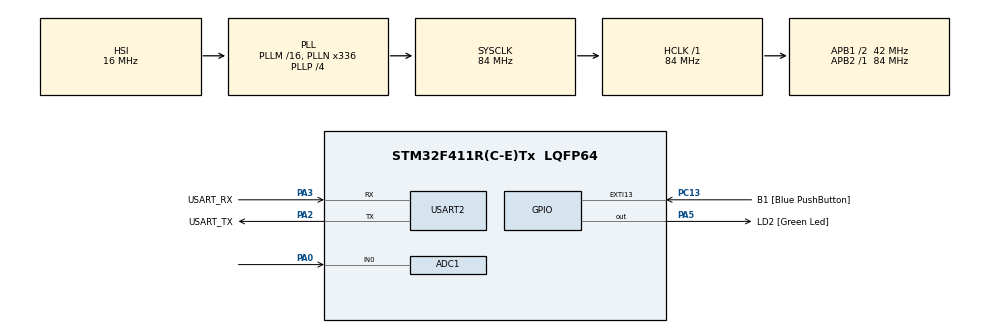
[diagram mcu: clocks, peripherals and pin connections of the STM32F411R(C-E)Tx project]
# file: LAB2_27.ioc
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ADC1.Channel-0\#ChannelRegularConversion=ADC_CHANNEL_0
ADC1.Channel-1\#ChannelRegularConversion=ADC_CHANNEL_TEMPSENSOR
ADC1.ContinuousConvMode=ENABLE
ADC1.DMAContinuousRequests=ENABLE
ADC1.EOCSelection=ADC_EOC_SEQ_CONV
ADC1.NbrOfConversion=2
ADC1.NbrOfConversionFlag=1
ADC1.Rank-0\#ChannelRegularConversion=1
ADC1.Rank-1\#ChannelRegularConversion=2
ADC1.SamplingTime-0\#ChannelRegularConversion=ADC_SAMPLETIME_56CYCLES
ADC1.SamplingTime-1\#ChannelRegularConversion=ADC_SAMPLETIME_56CYCLES
ADC1.ScanConvMode=ENABLE
ADC1.master=1
Dma.ADC1.0.Direction=DMA_PERIPH_TO_MEMORY
Dma.ADC1.0.FIFOMode=DMA_FIFOMODE_DISABLE
Dma.ADC1.0.Instance=DMA2_Stream0
Dma.ADC1.0.MemDataAlignment=DMA_MDATAALIGN_HALFWORD
Dma.ADC1.0.MemInc=DMA_MINC_ENABLE
Dma.ADC1.0.Mode=DMA_CIRCULAR
Dma.ADC1.0.PeriphDataAlignment=DMA_PDATAALIGN_HALFWORD
Dma.ADC1.0.PeriphInc=DMA_PINC_DISABLE
Dma.ADC1.0.Priority=DMA_PRIORITY_LOW
Dma.Request0=ADC1
Mcu.Family=STM32F4
Mcu.Name=STM32F411R(C-E)Tx
Mcu.Package=LQFP64
NVIC.ADC_IRQn=true\:0\:0\:false\:false\:true\:true\:true\:true
NVIC.DMA2_Stream0_IRQn=true\:0\:0\:false\:false\:true\:false\:true\:true
NVIC.PriorityGroup=NVIC_PRIORITYGROUP_0
PA0-WKUP.Signal=ADCx_IN0
PA13.GPIO_Label=TMS
PA13.Mode=Serial_Wire
PA13.Signal=SYS_JTMS-SWDIO
PA14.GPIO_Label=TCK
PA14.Mode=Serial_Wire
PA14.Signal=SYS_JTCK-SWCLK
PA2.GPIO_Label=USART_TX
PA2.Mode=Asynchronous
PA2.Signal=USART2_TX
PA3.GPIO_Label=USART_RX
PA3.Mode=Asynchronous
PA3.Signal=USART2_RX
PA5.GPIO_Label=LD2 [Green Led]
PA5.Signal=GPIO_Output
PB3.GPIO_Label=SWO
PB3.Signal=SYS_JTDO-SWO
PC13-ANTI_TAMP.GPIO_Label=B1 [Blue PushButton]
PC13-ANTI_TAMP.GPIO_ModeDefaultEXTI=GPIO_MODE_IT_FALLING
PC13-ANTI_TAMP.Signal=GPXTI13
PC14-OSC32_IN.Mode=LSE-External-Oscillator
PC14-OSC32_IN.Signal=RCC_OSC32_IN
PC15-OSC32_OUT.Mode=LSE-External-Oscillator
PC15-OSC32_OUT.Signal=RCC_OSC32_OUT
PH0\ -\ OSC_IN.Mode=HSE-External-Clock-Source
PH0\ -\ OSC_IN.Signal=RCC_OSC_IN
PH1\ -\ OSC_OUT.Mode=HSE-External-Clock-Source
PH1\ -\ OSC_OUT.Signal=RCC_OSC_OUT
ProjectManager.HeapSize=0x200
ProjectManager.StackSize=0x400
ProjectManager.TargetToolchain=STM32CubeIDE
RCC.48MHZClocksFreq_Value=84000000
RCC.AHBFreq_Value=84000000
RCC.APB1CLKDivider=RCC_HCLK_DIV2
RCC.APB1Freq_Value=42000000
RCC.APB1TimFreq_Value=84000000
RCC.APB2Freq_Value=84000000
RCC.APB2TimFreq_Value=84000000
RCC.CortexFreq_Value=84000000
RCC.FLatency-AdvancedSettings=FLASH_LATENCY_2
RCC.HCLKFreq_Value=84000000
RCC.HSE_VALUE=8000000
RCC.HSI_VALUE=16000000
RCC.PLLN=336
RCC.PLLP=RCC_PLLP_DIV4
RCC.SYSCLKFreq_VALUE=84000000
RCC.SYSCLKSource=RCC_SYSCLKSOURCE_PLLCLK
RCC.VCOOutputFreq_Value=336000000
SH.ADCx_IN0.0=ADC1_IN0,IN0
USART2.VirtualMode=VM_ASYNC
VP_ADC1_TempSens_Input.Mode=IN-TempSens
board=NUCLEO-F411RE

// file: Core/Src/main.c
/* USER CODE BEGIN Header */
/**
  ******************************************************************************
  * @file           : main.c
  * @brief          : Main program body
  ******************************************************************************
  * @attention
  *
  * Copyright (c) 2023 STMicroelectronics.
  * All rights reserved.
  *
  * This software is licensed under terms that can be found in the LICENSE file
  * in the root directory of this software component.
  * If no LICENSE file comes with this software, it is provided AS-IS.
  *
  ******************************************************************************
  */
/* USER CODE END Header */
#include "main.h"

ADC_HandleTypeDef hadc1;
DMA_HandleTypeDef hdma_adc1;

UART_HandleTypeDef huart2;

/* USER CODE BEGIN PV */
typedef struct
{
	uint16_t adcIN0;
	uint16_t adcTemp;
}DMA_adcMeter;

DMA_adcMeter adcMeter[10];

uint16_t avgV;
uint16_t avgT;
uint16_t In_V;
uint16_t In_T;
uint16_t Vo;
uint16_t Temp_C;
uint16_t Temp_K;

/* USER CODE END PV */

void SystemClock_Config(void);
static void MX_GPIO_Init(void);
static void MX_DMA_Init(void);
static void MX_USART2_UART_Init(void);
static void MX_ADC1_Init(void);
/* USER CODE BEGIN PFP */
void ADC_Converter();
/* USER CODE END PFP */

int main(void)
{

  /* MCU Configuration--------------------------------------------------------*/

  /* Reset of all peripherals, Initializes the Flash interface and the Systick. */
  HAL_Init();

  /* Configure the system clock */
  SystemClock_Config();

  /* Initialize all configured peripherals */
  MX_GPIO_Init();
  MX_DMA_Init();
  MX_USART2_UART_Init();
  MX_ADC1_Init();
  /* USER CODE BEGIN 2 */
  HAL_ADC_Start_DMA(&hadc1, (uint32_t*)adcMeter, 20);
  /* USER CODE END 2 */

  /* Infinite loop */
  while (1)
  {

    /* USER CODE BEGIN 3 */
		static uint32_t timeStamp = 0;
		if (HAL_GetTick() >= timeStamp)
		{
			timeStamp = HAL_GetTick() + 1000;
			ADC_Converter();
		}
  }
  /* USER CODE END 3 */
}

void SystemClock_Config(void)
{
  RCC_OscInitTypeDef RCC_OscInitStruct = {0};
  RCC_ClkInitTypeDef RCC_ClkInitStruct = {0};

  /** Configure the main internal regulator output voltage
  */
  __HAL_RCC_PWR_CLK_ENABLE();
  __HAL_PWR_VOLTAGESCALING_CONFIG(PWR_REGULATOR_VOLTAGE_SCALE1);

  /** Initializes the RCC Oscillators according to the specified parameters
  * in the RCC_OscInitTypeDef structure.
  */
  RCC_OscInitStruct.OscillatorType = RCC_OSCILLATORTYPE_HSI;
  RCC_OscInitStruct.HSIState = RCC_HSI_ON;
  RCC_OscInitStruct.HSICalibrationValue = RCC_HSICALIBRATION_DEFAULT;
  RCC_OscInitStruct.PLL.PLLState = RCC_PLL_ON;
  RCC_OscInitStruct.PLL.PLLSource = RCC_PLLSOURCE_HSI;
  RCC_OscInitStruct.PLL.PLLM = 16;
  RCC_OscInitStruct.PLL.PLLN = 336;
  RCC_OscInitStruct.PLL.PLLP = RCC_PLLP_DIV4;
  RCC_OscInitStruct.PLL.PLLQ = 4;
  if (HAL_RCC_OscConfig(&RCC_OscInitStruct) != HAL_OK)
  {
    Error_Handler();
  }

  /** Initializes the CPU, AHB and APB buses clocks
  */
  RCC_ClkInitStruct.ClockType = RCC_CLOCKTYPE_HCLK|RCC_CLOCKTYPE_SYSCLK
                              |RCC_CLOCKTYPE_PCLK1|RCC_CLOCKTYPE_PCLK2;
  RCC_ClkInitStruct.SYSCLKSource = RCC_SYSCLKSOURCE_PLLCLK;
  RCC_ClkInitStruct.AHBCLKDivider = RCC_SYSCLK_DIV1;
  RCC_ClkInitStruct.APB1CLKDivider = RCC_HCLK_DIV2;
  RCC_ClkInitStruct.APB2CLKDivider = RCC_HCLK_DIV1;

  if (HAL_RCC_ClockConfig(&RCC_ClkInitStruct, FLASH_LATENCY_2) != HAL_OK)
  {
    Error_Handler();
  }
}

static void MX_ADC1_Init(void)
{

  ADC_ChannelConfTypeDef sConfig = {0};

  /** Configure the global features of the ADC (Clock, Resolution, Data Alignment and number of conversion)
  */
  hadc1.Instance = ADC1;
  hadc1.Init.ClockPrescaler = ADC_CLOCK_SYNC_PCLK_DIV4;
  hadc1.Init.Resolution = ADC_RESOLUTION_12B;
  hadc1.Init.ScanConvMode = ENABLE;
  hadc1.Init.ContinuousConvMode = ENABLE;
  hadc1.Init.DiscontinuousConvMode = DISABLE;
  hadc1.Init.ExternalTrigConvEdge = ADC_EXTERNALTRIGCONVEDGE_NONE;
  hadc1.Init.ExternalTrigConv = ADC_SOFTWARE_START;
  hadc1.Init.DataAlign = ADC_DATAALIGN_RIGHT;
  hadc1.Init.NbrOfConversion = 2;
  hadc1.Init.DMAContinuousRequests = ENABLE;
  hadc1.Init.EOCSelection = ADC_EOC_SEQ_CONV;
  if (HAL_ADC_Init(&hadc1) != HAL_OK)
  {
    Error_Handler();
  }

  /** Configure for the selected ADC regular channel its corresponding rank in the sequencer and its sample time.
  */
  sConfig.Channel = ADC_CHANNEL_0;
  sConfig.Rank = 1;
  sConfig.SamplingTime = ADC_SAMPLETIME_56CYCLES;
  if (HAL_ADC_ConfigChannel(&hadc1, &sConfig) != HAL_OK)
  {
    Error_Handler();
  }

  /** Configure for the selected ADC regular channel its corresponding rank in the sequencer and its sample time.
  */
  sConfig.Channel = ADC_CHANNEL_TEMPSENSOR;
  sConfig.Rank = 2;
  if (HAL_ADC_ConfigChannel(&hadc1, &sConfig) != HAL_OK)
  {
    Error_Handler();
  }

}

static void MX_USART2_UART_Init(void)
{

  huart2.Instance = USART2;
  huart2.Init.BaudRate = 115200;
  huart2.Init.WordLength = UART_WORDLENGTH_8B;
  huart2.Init.StopBits = UART_STOPBITS_1;
  huart2.Init.Parity = UART_PARITY_NONE;
  huart2.Init.Mode = UART_MODE_TX_RX;
  huart2.Init.HwFlowCtl = UART_HWCONTROL_NONE;
  huart2.Init.OverSampling = UART_OVERSAMPLING_16;
  if (HAL_UART_Init(&huart2) != HAL_OK)
  {
    Error_Handler();
  }

}

static void MX_DMA_Init(void)
{

  /* DMA controller clock enable */
  __HAL_RCC_DMA2_CLK_ENABLE();

  /* DMA interrupt init */
  /* DMA2_Stream0_IRQn interrupt configuration */
  HAL_NVIC_SetPriority(DMA2_Stream0_IRQn, 0, 0);
  HAL_NVIC_EnableIRQ(DMA2_Stream0_IRQn);

}

static void MX_GPIO_Init(void)
{
  GPIO_InitTypeDef GPIO_InitStruct = {0};

  /* GPIO Ports Clock Enable */
  __HAL_RCC_GPIOC_CLK_ENABLE();
  __HAL_RCC_GPIOH_CLK_ENABLE();
  __HAL_RCC_GPIOA_CLK_ENABLE();
  __HAL_RCC_GPIOB_CLK_ENABLE();

  /*Configure GPIO pin Output Level */
  HAL_GPIO_WritePin(LD2_GPIO_Port, LD2_Pin, GPIO_PIN_RESET);

  /*Configure GPIO pin : B1_Pin */
  GPIO_InitStruct.Pin = B1_Pin;
  GPIO_InitStruct.Mode = GPIO_MODE_IT_FALLING;
  GPIO_InitStruct.Pull = GPIO_NOPULL;
  HAL_GPIO_Init(B1_GPIO_Port, &GPIO_InitStruct);

  /*Configure GPIO pin : LD2_Pin */
  GPIO_InitStruct.Pin = LD2_Pin;
  GPIO_InitStruct.Mode = GPIO_MODE_OUTPUT_PP;
  GPIO_InitStruct.Pull = GPIO_NOPULL;
  GPIO_InitStruct.Speed = GPIO_SPEED_FREQ_LOW;
  HAL_GPIO_Init(LD2_GPIO_Port, &GPIO_InitStruct);

}

/* USER CODE BEGIN 4 */
void ADC_Converter()
{
	for (int i=0;i<10;i++)
	{
		In_V += adcMeter[i].adcIN0;
		In_T += adcMeter[i].adcTemp;
	}
	avgV = In_V/10;
	avgT = In_T/10;

	Vo = avgV*5/3; //Change Vmax in bits to Vmax in mV.
	Temp_C = (((avgT*3300/4096)-760)/2.5) + 25; // Temperature in C
	Temp_K = Temp_C + 273; // Temperature in K

	In_V = 0;
	In_T = 0;
}
/* USER CODE END 4 */

void Error_Handler(void)
{
  __disable_irq();
  while (1)
  {
  }
}
